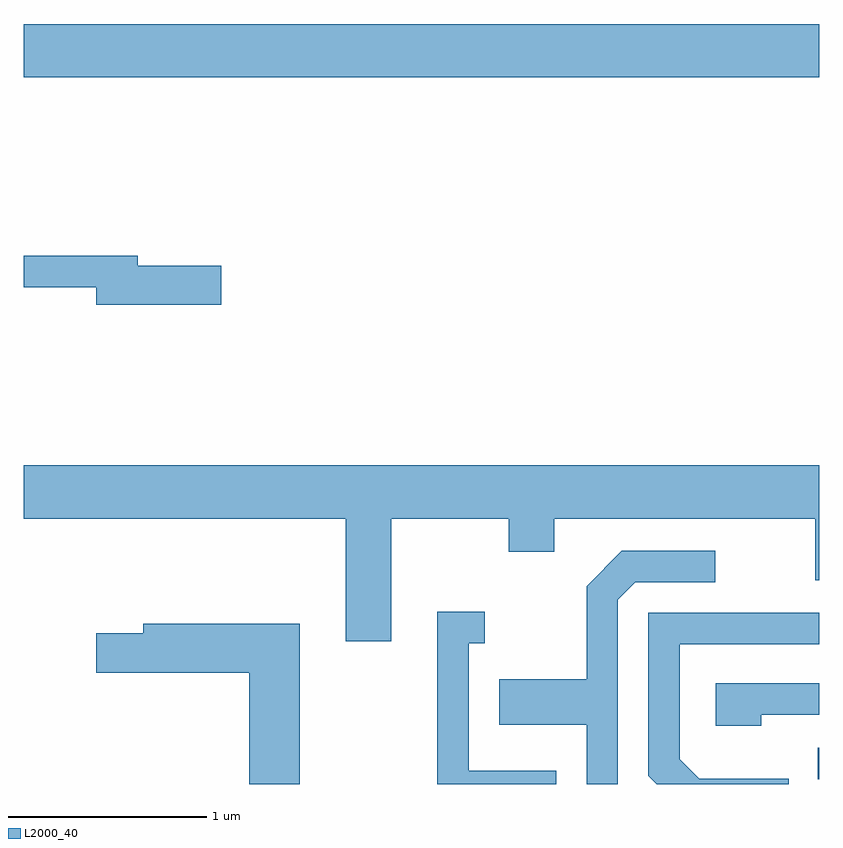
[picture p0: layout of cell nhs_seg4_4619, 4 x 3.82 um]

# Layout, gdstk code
import gdstk
lib = gdstk.Library(unit=1e-6, precision=1e-09)
def R(c, l, rs):  # rectangles x0, y0, x1, y1
    for r in rs: c.add(gdstk.rectangle(r[:2], r[2:], *l))
def P(c, l, *ps):  # polygons
    for p in ps: c.add(gdstk.Polygon(p, *l))
L2000_40 = (2000, 40)

nhs_seg4_4619 = lib.new_cell('nhs_seg4_4619')
R(nhs_seg4_4619, L2000_40, [(323.603,1380.006,323.611,1380.164), (319.611,1383.536,323.611,1383.804)])
P(nhs_seg4_4619, L2000_40, [(320.604,1382.589),(320.184,1382.589),(320.184,1382.639),(319.611,1382.639),(319.611,1382.481),(319.976,1382.481),(319.976,1382.391),(320.604,1382.391)],
  [(321.459,1381.316),(322.051,1381.316),(322.051,1381.151),(322.279,1381.151),(322.279,1381.316),(323.591,1381.316),(323.591,1381.006),(323.611,1381.006),(323.611,1381.584),(319.611,1381.584),(319.611,1381.316),(321.231,1381.316),(321.231,1380.701),(321.459,1380.701)],
  [(322.599,1380.909),(322.687,1380.996),(323.088,1380.996),(323.088,1381.154),(322.619,1381.154),(322.441,1380.977),(322.441,1380.509),(322.001,1380.509),(322.001,1380.281),(322.441,1380.281),(322.441,1379.982),(322.599,1379.982)],
  [(322.289,1380.049),(321.849,1380.049),(321.849,1380.691),(321.928,1380.691),(321.928,1380.849),(321.691,1380.849),(321.691,1379.982),(322.289,1379.982)],
  [(323.459,1380.009),(323.007,1380.009),(322.909,1380.107),(322.909,1380.686),(323.611,1380.686),(323.611,1380.844),(322.751,1380.844),(322.751,1380.024),(322.793,1379.982),(323.459,1379.982)],
  [(320.999,1380.789),(320.211,1380.789),(320.211,1380.739),(319.976,1380.739),(319.976,1380.541),(320.746,1380.541),(320.746,1379.982),(320.999,1379.982)],
  [(323.319,1380.331),(323.611,1380.331),(323.611,1380.489),(323.091,1380.489),(323.091,1380.276),(323.319,1380.276)])

lib.write_gds('nhs_seg4_4619.gds')
